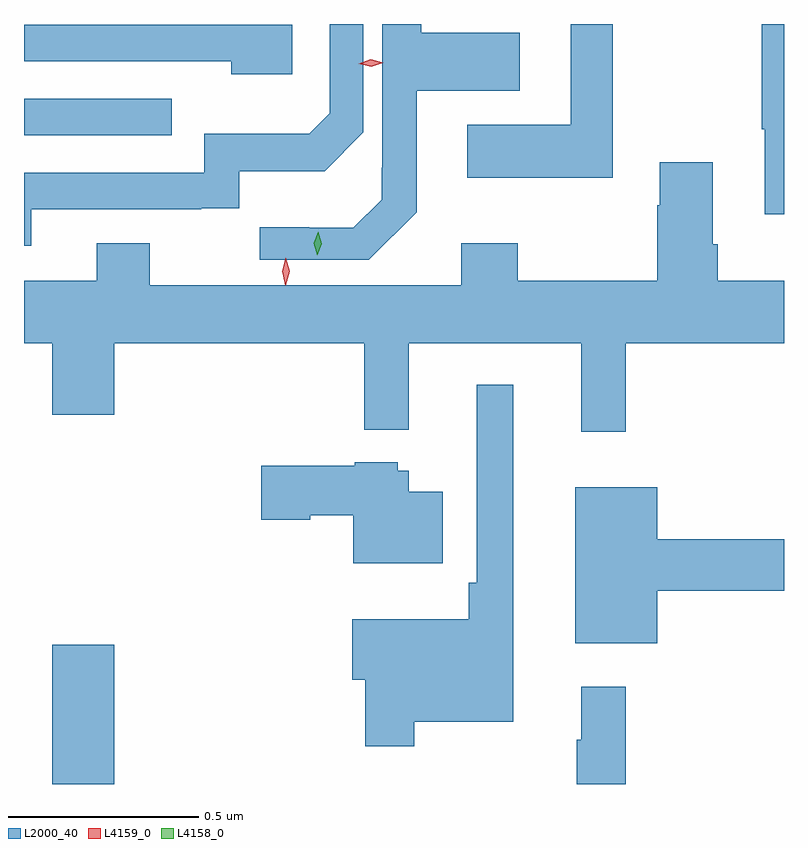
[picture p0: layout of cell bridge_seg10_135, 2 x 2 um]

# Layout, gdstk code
import gdstk
lib = gdstk.Library(unit=1e-6, precision=1e-09)
def R(c, l, rs):  # rectangles x0, y0, x1, y1
    for r in rs: c.add(gdstk.rectangle(r[:2], r[2:], *l))
def P(c, l, *ps):  # polygons
    for p in ps: c.add(gdstk.Polygon(p, *l))
L2000_40 = (2000, 40)
L4158_0 = (4158, 0)
L4159_0 = (4159, 0)

bridge_seg10_135 = lib.new_cell('bridge_seg10_135')
R(bridge_seg10_135, L2000_40, [(356.816,1297.824,356.98,1298.191), (356.742,1299.531,357.131,1299.627)])
P(bridge_seg10_135, L2000_40, [(358.291,1299.824),(358.181,1299.824),(358.181,1299.559),(357.909,1299.559),(357.909,1299.419),(358.291,1299.419)],
  [(357.775,1299.329),(357.775,1299.648),(358.047,1299.648),(358.047,1299.801),(357.788,1299.801),(357.788,1299.824),(357.685,1299.824),(357.685,1299.446),(357.683,1299.446),(357.683,1299.362),(357.608,1299.288),(357.493,1299.288),(357.493,1299.289),(357.362,1299.289),(357.362,1299.204),(357.649,1299.204)],
  [(356.761,1299.336),(357.209,1299.336),(357.209,1299.339),(357.309,1299.339),(357.309,1299.437),(357.533,1299.437),(357.635,1299.539),(357.635,1299.824),(357.546,1299.824),(357.546,1299.589),(357.492,1299.535),(357.216,1299.535),(357.216,1299.432),(356.742,1299.432),(356.742,1299.24),(356.761,1299.24)],
  [(358.742,1299.824),(358.684,1299.824),(358.684,1299.547),(358.691,1299.547),(358.691,1299.324),(358.742,1299.324)],
  [(357.448,1299.822),(356.742,1299.822),(356.742,1299.726),(357.287,1299.726),(357.287,1299.692),(357.448,1299.692)],
  [(358.325,1298.984),(358.742,1298.984),(358.742,1299.148),(358.568,1299.148),(358.568,1299.244),(358.555,1299.244),(358.555,1299.46),(358.415,1299.46),(358.415,1299.347),(358.408,1299.347),(358.408,1299.148),(358.041,1299.148),(358.041,1299.247),(357.893,1299.247),(357.893,1299.137),(357.073,1299.137),(357.073,1299.247),(356.933,1299.247),(356.933,1299.148),(356.742,1299.148),(356.742,1298.984),(356.816,1298.984),(356.816,1298.796),(356.98,1298.796),(356.98,1298.984),(357.637,1298.984),(357.637,1298.756),(357.755,1298.756),(357.755,1298.984),(358.208,1298.984),(358.208,1298.751),(358.325,1298.751)],
  [(357.769,1297.988),(358.03,1297.988),(358.03,1298.875),(357.933,1298.875),(357.933,1298.353),(357.913,1298.353),(357.913,1298.257),(357.606,1298.257),(357.606,1298.099),(357.64,1298.099),(357.64,1297.923),(357.769,1297.923)],
  [(357.844,1298.593),(357.754,1298.593),(357.754,1298.649),(357.726,1298.649),(357.726,1298.671),(357.612,1298.671),(357.612,1298.661),(357.366,1298.661),(357.366,1298.519),(357.495,1298.519),(357.495,1298.531),(357.608,1298.531),(357.608,1298.405),(357.844,1298.405)],
  [(358.408,1298.332),(358.742,1298.332),(358.742,1298.468),(358.408,1298.468),(358.408,1298.605),(358.193,1298.605),(358.193,1298.195),(358.408,1298.195)],
  [(358.325,1298.08),(358.208,1298.08),(358.208,1297.94),(358.197,1297.94),(358.197,1297.824),(358.325,1297.824)])
P(bridge_seg10_135, L4158_0, [(357.514,1299.215),(357.514,1299.216),(357.505,1299.247),(357.516,1299.277),(357.516,1299.277),(357.516,1299.277),(357.525,1299.246),(357.514,1299.216)])
P(bridge_seg10_135, L4159_0, [(357.656,1299.711),(357.623,1299.72),(357.623,1299.72),(357.623,1299.72),(357.655,1299.731),(357.688,1299.722),(357.688,1299.722),(357.688,1299.722)],
  [(357.431,1299.136),(357.43,1299.137),(357.421,1299.173),(357.431,1299.209),(357.431,1299.209),(357.431,1299.209),(357.441,1299.173),(357.431,1299.137)])

lib.write_gds('bridge_seg10_135.gds')
